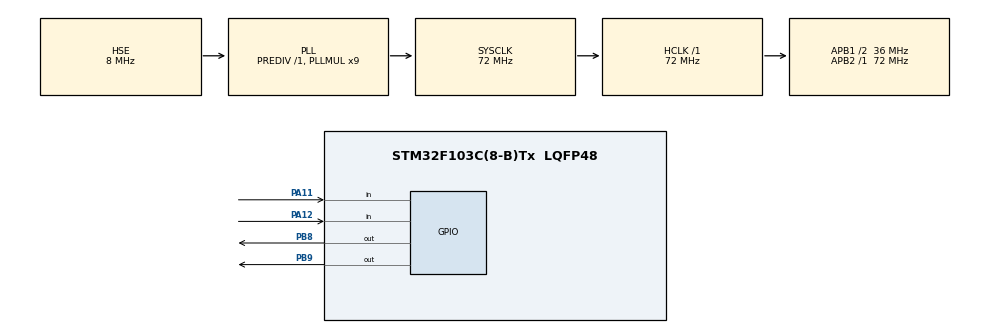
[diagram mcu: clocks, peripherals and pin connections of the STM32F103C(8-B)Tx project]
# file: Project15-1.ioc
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Mcu.Family=STM32F1
Mcu.Name=STM32F103C(8-B)Tx
Mcu.Package=LQFP48
NVIC.PriorityGroup=NVIC_PRIORITYGROUP_4
PA11.GPIO_PuPd=GPIO_PULLUP
PA11.Signal=GPIO_Input
PA12.GPIO_PuPd=GPIO_PULLUP
PA12.Signal=GPIO_Input
PA13.Mode=Serial_Wire
PA13.Signal=SYS_JTMS-SWDIO
PA14.Mode=Serial_Wire
PA14.Signal=SYS_JTCK-SWCLK
PB8.GPIO_ModeDefaultOutputPP=GPIO_MODE_OUTPUT_OD
PB8.GPIO_PuPd=GPIO_NOPULL
PB8.Signal=GPIO_Output
PB9.GPIO_ModeDefaultOutputPP=GPIO_MODE_OUTPUT_OD
PB9.GPIO_PuPd=GPIO_NOPULL
PB9.Signal=GPIO_Output
PC14-OSC32_IN.Mode=LSE-External-Oscillator
PC14-OSC32_IN.Signal=RCC_OSC32_IN
PC15-OSC32_OUT.Mode=LSE-External-Oscillator
PC15-OSC32_OUT.Signal=RCC_OSC32_OUT
PD0-OSC_IN.Mode=HSE-External-Oscillator
PD0-OSC_IN.Signal=RCC_OSC_IN
PD1-OSC_OUT.Mode=HSE-External-Oscillator
PD1-OSC_OUT.Signal=RCC_OSC_OUT
ProjectManager.HeapSize=0x200
ProjectManager.StackSize=0x400
ProjectManager.TargetToolchain=MDK-ARM V5.32
RCC.AHBFreq_Value=72000000
RCC.APB1CLKDivider=RCC_HCLK_DIV2
RCC.APB1Freq_Value=36000000
RCC.APB1TimFreq_Value=72000000
RCC.APB2Freq_Value=72000000
RCC.APB2TimFreq_Value=72000000
RCC.HCLKFreq_Value=72000000
RCC.PLLMUL=RCC_PLL_MUL9
RCC.PLLSourceVirtual=RCC_PLLSOURCE_HSE
RCC.SYSCLKFreq_VALUE=72000000
RCC.SYSCLKSource=RCC_SYSCLKSOURCE_PLLCLK
RCC.USBFreq_Value=72000000
board=custom

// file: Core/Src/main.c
/* USER CODE BEGIN Header */
/**
  ******************************************************************************
  * @file           : main.c
  * @brief          : Main program body
  ******************************************************************************
  * @attention
  *
  * Copyright (c) 2025 STMicroelectronics.
  * All rights reserved.
  *
  * This software is licensed under terms that can be found in the LICENSE file
  * in the root directory of this software component.
  * If no LICENSE file comes with this software, it is provided AS-IS.
  *
  ******************************************************************************
  */
/* USER CODE END Header */
#include "main.h"
#include "gpio.h"

/* USER CODE BEGIN Includes */
#include "OLED.h"
#include "Store.h"
#include <stdint.h>
/* USER CODE END Includes */

void SystemClock_Config(void);

int main(void)
{

  /* MCU Configuration--------------------------------------------------------*/

  /* Reset of all peripherals, Initializes the Flash interface and the Systick. */
  HAL_Init();

  /* Configure the system clock */
  SystemClock_Config();

  /* Initialize all configured peripherals */
  MX_GPIO_Init();
  /* USER CODE BEGIN 2 */
  // 先在cubemx中配置OLED和两个按键的相关引脚，然后添加相关文件
  // 模块初始化
  OLED_Init();
  Store_Init();	// 参数存储模块初始化，在上电的时候将闪存的数据加载回Store_Data，实现掉电不丢失
  // 显示静态字符串
  OLED_ShowString(1, 1, "Flag:");
  OLED_ShowString(2, 1, "Data:");
  /* USER CODE END 2 */

  /* Infinite loop */
  /* USER CODE BEGIN WHILE */
  while (1)
  {
	  if(HAL_GPIO_ReadPin(GPIOA,GPIO_PIN_12) == RESET)// 按键1按下
	  {
		  HAL_Delay(20);// 消抖
		  if(HAL_GPIO_ReadPin(GPIOA,GPIO_PIN_12) == RESET)
		  {
			  while(HAL_GPIO_ReadPin(GPIOA,GPIO_PIN_12) == RESET);// 等待按键1释放
			  Store_Data[1] ++;		//变换测试数据
			  Store_Data[2] += 2;
			  Store_Data[3] += 3;
			  Store_Data[4] += 4;
			  Store_Save();			//将Store_Data的数据备份保存到闪存，实现掉电不丢失
		  }
	  }
	  if(HAL_GPIO_ReadPin(GPIOA,GPIO_PIN_11) == RESET)// 按键2按下
	  {
		  HAL_Delay(20);// 消抖
		  if(HAL_GPIO_ReadPin(GPIOA,GPIO_PIN_11) == RESET)
		  {
			  while(HAL_GPIO_ReadPin(GPIOA,GPIO_PIN_11) == RESET);// 等待按键2释放
			  Store_Clear();			//将Store_Data的数据全部清0
		  }
	  }
	  OLED_ShowHexNum(1, 6, Store_Data[0], 4);	//显示Store_Data的第一位标志位
	  OLED_ShowHexNum(3, 1, Store_Data[1], 4);	//显示Store_Data的有效存储数据
	  OLED_ShowHexNum(3, 6, Store_Data[2], 4);
	  OLED_ShowHexNum(4, 1, Store_Data[3], 4);
	  OLED_ShowHexNum(4, 6, Store_Data[4], 4);
    /* USER CODE END WHILE */

  }
}

void SystemClock_Config(void)
{
  RCC_OscInitTypeDef RCC_OscInitStruct = {0};
  RCC_ClkInitTypeDef RCC_ClkInitStruct = {0};

  /** Initializes the RCC Oscillators according to the specified parameters
  * in the RCC_OscInitTypeDef structure.
  */
  RCC_OscInitStruct.OscillatorType = RCC_OSCILLATORTYPE_HSE;
  RCC_OscInitStruct.HSEState = RCC_HSE_ON;
  RCC_OscInitStruct.HSEPredivValue = RCC_HSE_PREDIV_DIV1;
  RCC_OscInitStruct.HSIState = RCC_HSI_ON;
  RCC_OscInitStruct.PLL.PLLState = RCC_PLL_ON;
  RCC_OscInitStruct.PLL.PLLSource = RCC_PLLSOURCE_HSE;
  RCC_OscInitStruct.PLL.PLLMUL = RCC_PLL_MUL9;
  if (HAL_RCC_OscConfig(&RCC_OscInitStruct) != HAL_OK)
  {
    Error_Handler();
  }

  /** Initializes the CPU, AHB and APB buses clocks
  */
  RCC_ClkInitStruct.ClockType = RCC_CLOCKTYPE_HCLK|RCC_CLOCKTYPE_SYSCLK
                              |RCC_CLOCKTYPE_PCLK1|RCC_CLOCKTYPE_PCLK2;
  RCC_ClkInitStruct.SYSCLKSource = RCC_SYSCLKSOURCE_PLLCLK;
  RCC_ClkInitStruct.AHBCLKDivider = RCC_SYSCLK_DIV1;
  RCC_ClkInitStruct.APB1CLKDivider = RCC_HCLK_DIV2;
  RCC_ClkInitStruct.APB2CLKDivider = RCC_HCLK_DIV1;

  if (HAL_RCC_ClockConfig(&RCC_ClkInitStruct, FLASH_LATENCY_2) != HAL_OK)
  {
    Error_Handler();
  }
}

void Error_Handler(void)
{
  __disable_irq();
  while (1)
  {
  }
}
